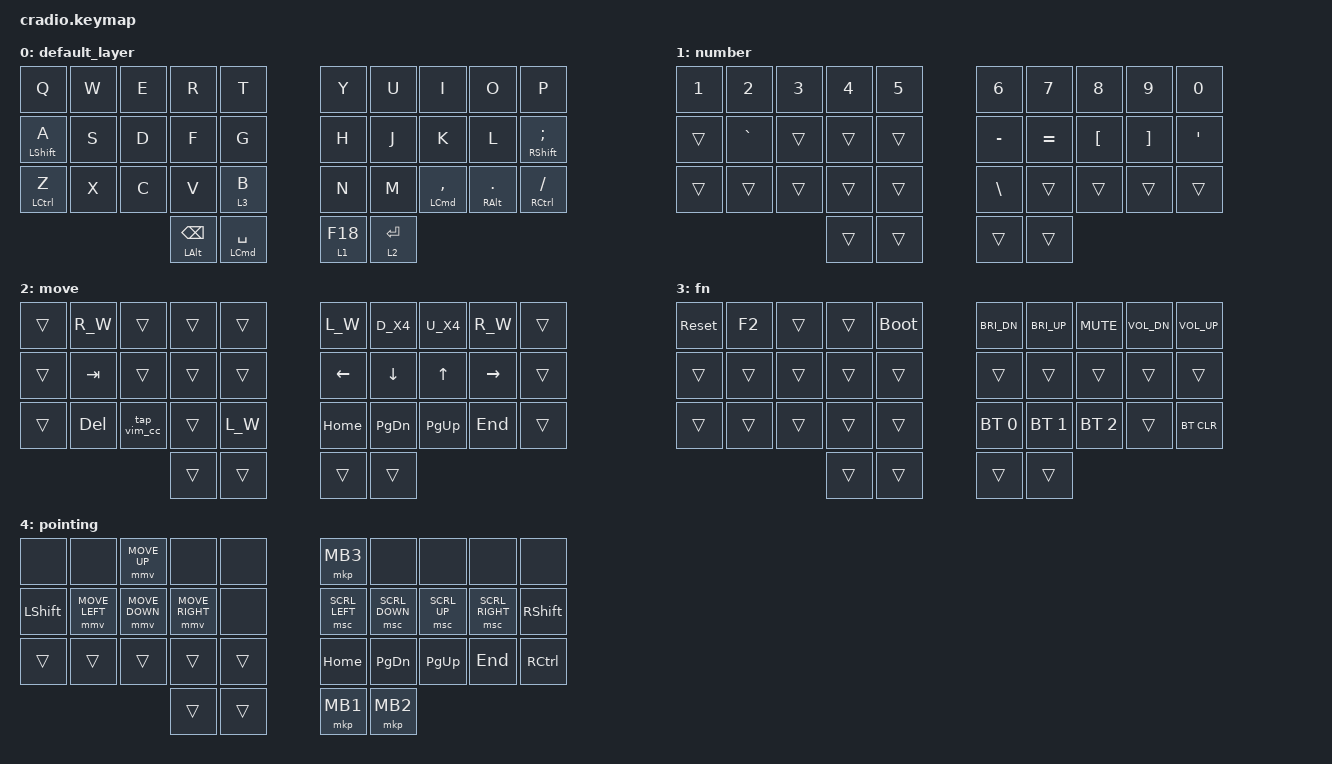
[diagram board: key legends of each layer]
// Copyright (c) 2022 The ZMK Contributors
// SPDX-License-Identifier: MIT

#include <behaviors.dtsi>
#include <dt-bindings/zmk/bt.h>
#include <dt-bindings/zmk/keys.h>

// Higher mouse top speed: max velocity 1500 (ZMK default 600).
// Must be defined before including pointing.h (used by MOVE_* defines).
#define ZMK_POINTING_DEFAULT_MOVE_VAL 1500
#include <dt-bindings/zmk/pointing.h>

// Home row mods macro
// #define HRML(k1,k2,k3,k4) &ht LSHFT k1  &ht LALT k2  &ht LCTRL k3  &ht LGUI k4

&mt { flavor = "tap-preferred"; };

// Keyboard mouse (ESDF): keep the START fast so direction changes aren't sluggish.
// acceleration-exponent: 0 = instant max (no ramp), 1 = linear/quick pickup, 2 = slow start.
// Responsive feel = low exponent + short ramp + high max; do fine adjustments via short taps.
&mmv {
    time-to-max-speed-ms = <100>;
    acceleration-exponent = <1>;
};

/ {
    behaviors {
        ht: hold_tap {
            compatible = "zmk,behavior-hold-tap";
            #binding-cells = <2>;
            flavor = "tap-preferred";
            tapping-term-ms = <220>;
            quick-tap-ms = <150>;
            require-prior-idle-ms = <100>;
            bindings = <&kp>, <&kp>;
        };

        tap_vim_cc: tap_vim_cc {
            compatible = "zmk,behavior-tap-dance";
            label = "TAP_VIM_CC";
            #binding-cells = <0>;
            bindings = <&none>, <&vim_cc>;

            tapping-term-ms = <50>;
        };
    };

    combos {
        compatible = "zmk,combos";

        combo_esc {
            timeout-ms = <50>;
            key-positions = <16 17>;
            bindings = <&kp ESC>;
        };

        vim_cb {
            bindings = <&vim_cb>;
            key-positions = <22 24>;
            layers = <2>;
            timeout-ms = <1000>;
        };

        vim_cw {
            bindings = <&vim_cw>;
            key-positions = <22 1>;
            layers = <2>;
            timeout-ms = <1000>;
        };

        TG4_on {
            bindings = <&tog 4>;
            key-positions = <32 33>;
            timeout-ms = <50>;
            layers = <0>;
        };

        TG4_off {
            bindings = <&tog 4>;
            key-positions = <33 32>;
            layers = <4>;
            timeout-ms = <50>;
        };
    };

    macros {
        L_W: L_W {
            compatible = "zmk,behavior-macro";
            #binding-cells = <0>;
            bindings =
                <&macro_press>,
                <&kp LALT>,
                <&macro_tap>,
                <&kp LEFT>,
                <&macro_release>,
                <&kp LALT>;
        };

        D_X4: D_X4 {
            compatible = "zmk,behavior-macro";
            #binding-cells = <0>;
            bindings = <&kp DOWN &kp DOWN &kp DOWN &kp DOWN>;
        };

        U_X4: U_X4 {
            compatible = "zmk,behavior-macro";
            #binding-cells = <0>;
            bindings = <&kp UP &kp UP &kp UP &kp UP>;
        };

        R_W: R_W {
            compatible = "zmk,behavior-macro";
            #binding-cells = <0>;
            bindings =
                <&macro_press>,
                <&kp LALT>,
                <&macro_tap>,
                <&kp RIGHT>,
                <&macro_release>,
                <&kp LALT>;
        };

        vim_C: vim_C {
            compatible = "zmk,behavior-macro";
            #binding-cells = <0>;
            bindings =
                <&macro_press>,
                <&kp LEFT_SHIFT>,
                <&macro_tap>,
                <&kp END>,
                <&macro_release>,
                <&kp LEFT_SHIFT>,
                <&macro_tap>,
                <&kp DEL>;

            label = "VIM_C";
        };

        vim_cc: vim_cc {
            compatible = "zmk,behavior-macro";
            #binding-cells = <0>;
            bindings =
                <&kp END>,
                <&macro_press>,
                <&kp LEFT_SHIFT>,
                <&macro_tap>,
                <&kp HOME>,
                <&macro_release>,
                <&kp LEFT_SHIFT>,
                <&macro_tap>,
                <&kp DEL>;

            label = "VIM_CC";
        };

        vim_cb: vim_db {
            compatible = "zmk,behavior-macro";
            #binding-cells = <0>;
            bindings =
                <&macro_press>,
                <&kp LALT>,
                <&macro_tap>,
                <&kp BSPC>,
                <&macro_release>,
                <&kp LALT>;

            label = "VIM_DB";
        };

        vim_cw: vim_dw {
            compatible = "zmk,behavior-macro";
            #binding-cells = <0>;
            bindings =
                <&macro_press>,
                <&kp LALT>,
                <&macro_tap>,
                <&kp DEL>,
                <&macro_release>,
                <&kp LALT>;

            label = "VIM_DW";
        };
    };

    keymap {
        compatible = "zmk,keymap";

        default_layer {
            bindings = <
&kp Q        &kp W  &kp E  &kp R          &kp T           &kp Y      &kp U        &kp I           &kp O         &kp P
&mt LSHFT A  &kp S  &kp D  &kp F          &kp G           &kp H      &kp J        &kp K           &kp L         &mt RSHFT SEMI
&mt LCTRL Z  &kp X  &kp C  &kp V          &lt 3 B         &kp N      &kp M        &mt LCMD COMMA  &mt RALT DOT  &mt RCTL FSLH
                           &mt LALT BSPC  &mt LCMD SPC    &lt 1 F18  &lt 2 ENTER
            >;
        };

        number {
            bindings = <
&kp N1  &kp N2     &kp N3  &kp N4  &kp N5    &kp N6     &kp N7     &kp N8    &kp N9    &kp N0
&trans  &kp GRAVE  &trans  &trans  &trans    &kp MINUS  &kp EQUAL  &kp LBKT  &kp RBKT  &kp SQT
&trans  &trans     &trans  &trans  &trans    &kp BSLH   &trans     &trans    &trans    &trans
                           &trans  &trans    &trans     &trans
            >;
        };

        move {
            bindings = <
&trans  &R_W     &trans       &trans  &trans    &L_W      &D_X4      &U_X4      &R_W       &trans
&trans  &kp TAB  &trans       &trans  &trans    &kp LEFT  &kp DOWN   &kp UP     &kp RIGHT  &trans
&trans  &kp DEL  &tap_vim_cc  &trans  &L_W      &kp HOME  &kp PG_DN  &kp PG_UP  &kp END    &trans
                              &trans  &trans    &trans    &trans
            >;
        };

        fn {
            bindings = <
&sys_reset  &kp F2  &trans  &trans  &bootloader    &kp C_BRI_DN  &kp C_BRI_UP  &kp C_MUTE    &kp C_VOL_DN  &kp C_VOL_UP
&trans      &trans  &trans  &trans  &trans         &trans        &trans        &trans        &trans        &trans
&trans      &trans  &trans  &trans  &trans         &bt BT_SEL 0  &bt BT_SEL 1  &bt BT_SEL 2  &trans        &bt BT_CLR
                            &trans  &trans         &trans        &trans
            >;
        };

        pointing {
            bindings = <
&none      &none           &mmv MOVE_UP    &none            &none     &mkp MB3        &none           &none         &none            &none
&kp LSHFT  &mmv MOVE_LEFT  &mmv MOVE_DOWN  &mmv MOVE_RIGHT  &none     &msc SCRL_LEFT  &msc SCRL_DOWN  &msc SCRL_UP  &msc SCRL_RIGHT  &kp RSHFT
&trans     &trans          &trans          &trans           &trans    &kp HOME        &kp PAGE_DOWN   &kp PG_UP     &kp END          &kp RCTRL
                                           &trans           &trans    &mkp MB1        &mkp MB2
            >;
        };
    };
};
